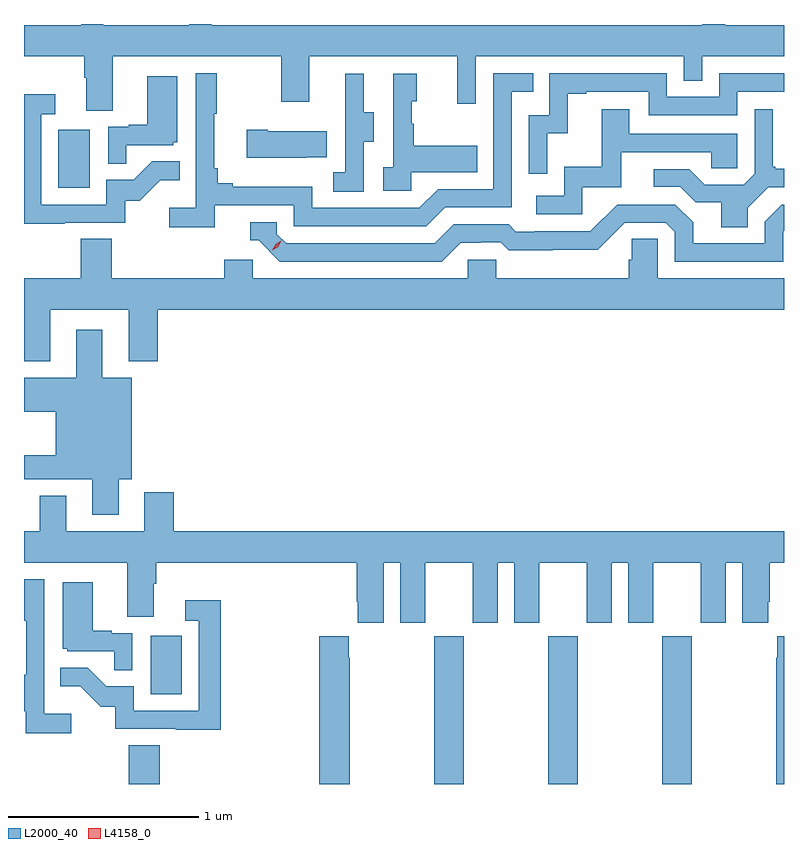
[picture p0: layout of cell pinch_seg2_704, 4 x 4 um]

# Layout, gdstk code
import gdstk
lib = gdstk.Library(unit=1e-6, precision=1e-09)
def R(c, l, rs):  # rectangles x0, y0, x1, y1
    for r in rs: c.add(gdstk.rectangle(r[:2], r[2:], *l))
def A(c, l, x, y, w, h, nx, ny, dx, dy):  # array of equal rectangles
    R(c, l, [(x+i*dx, y+j*dy, x+i*dx+w, y+j*dy+h) for i in range(nx) for j in range(ny)])
def P(c, l, *ps):  # polygons
    for p in ps: c.add(gdstk.Polygon(p, *l))
L2000_40 = (2000, 40)
L4158_0 = (4158, 0)

pinch_seg2_704 = lib.new_cell('pinch_seg2_704')
A(pinch_seg2_704, L2000_40, 1118.791, 597.187, 0.155, 0.777, 3, 1, 0.6, 0)
R(pinch_seg2_704, L2000_40, [(1117.181,597.187,1117.346,597.392), (1117.298,597.66,1117.462,597.967), (1116.812,600.324,1116.976,600.631)])
P(pinch_seg2_704, L2000_40, [(1117.619,601.187),(1117.502,601.187),(1117.502,601.18),(1117.049,601.18),(1117.049,601.187),(1116.931,601.187),(1116.931,601.18),(1116.631,601.18),(1116.631,601.016),(1116.947,601.016),(1116.947,600.904),(1116.959,600.904),(1116.959,600.73),(1117.099,600.73),(1117.099,601.016),(1117.984,601.016),(1117.984,600.777),(1118.131,600.777),(1118.131,601.016),(1118.912,601.016),(1118.912,600.768),(1119.009,600.768),(1119.009,601.016),(1120.104,601.016),(1120.104,600.889),(1120.2,600.889),(1120.2,601.016),(1120.631,601.016),(1120.631,601.18),(1120.321,601.18),(1120.321,601.187),(1120.2,601.187),(1120.2,601.18),(1117.619,601.18)],
  [(1117.634,600.234),(1118.052,600.234),(1118.052,600.123),(1118.749,600.123),(1118.848,600.222),(1119.198,600.222),(1119.198,600.831),(1119.311,600.831),(1119.311,600.927),(1119.102,600.927),(1119.102,600.318),(1118.811,600.318),(1118.712,600.219),(1118.148,600.219),(1118.148,600.331),(1117.729,600.331),(1117.729,600.35),(1117.652,600.35),(1117.652,600.427),(1117.633,600.427),(1117.633,600.715),(1117.645,600.715),(1117.645,600.928),(1117.536,600.928),(1117.536,600.22),(1117.395,600.22),(1117.395,600.118),(1117.634,600.118)],
  [(1119.384,600.611),(1119.494,600.611),(1119.494,600.819),(1119.589,600.819),(1119.589,600.831),(1119.918,600.831),(1119.918,600.708),(1120.386,600.708),(1120.386,600.831),(1120.631,600.831),(1120.631,600.927),(1120.29,600.927),(1120.29,600.804),(1120.014,600.804),(1120.014,600.927),(1119.396,600.927),(1119.396,600.708),(1119.288,600.708),(1119.288,600.399),(1119.384,600.399)],
  [(1118.418,600.568),(1118.473,600.568),(1118.473,600.723),(1118.419,600.723),(1118.419,600.925),(1118.321,600.925),(1118.321,600.711),(1118.322,600.711),(1118.322,600.407),(1118.259,600.407),(1118.259,600.304),(1118.418,600.304)],
  [(1118.67,600.407),(1119.017,600.407),(1119.017,600.547),(1118.683,600.547),(1118.683,600.662),(1118.673,600.662),(1118.673,600.78),(1118.698,600.78),(1118.698,600.925),(1118.574,600.925),(1118.574,600.434),(1118.523,600.434),(1118.523,600.309),(1118.67,600.309)],
  [(1117.169,600.549),(1117.416,600.549),(1117.416,600.564),(1117.438,600.564),(1117.438,600.913),(1117.28,600.913),(1117.28,600.658),(1117.181,600.658),(1117.181,600.645),(1117.074,600.645),(1117.074,600.451),(1117.169,600.451)],
  [(1116.845,600.141),(1117.164,600.141),(1117.164,600.258),(1117.24,600.258),(1117.347,600.365),(1117.451,600.365),(1117.451,600.464),(1117.307,600.464),(1117.209,600.366),(1117.065,600.366),(1117.065,600.237),(1116.723,600.237),(1116.723,600.711),(1116.796,600.711),(1116.796,600.817),(1116.631,600.817),(1116.631,600.136),(1116.845,600.136)],
  [(1119.57,600.327),(1119.775,600.327),(1119.775,600.513),(1120.249,600.513),(1120.249,600.429),(1120.386,600.429),(1120.386,600.609),(1119.817,600.609),(1119.817,600.739),(1119.673,600.739),(1119.673,600.436),(1119.474,600.436),(1119.474,600.282),(1119.327,600.282),(1119.327,600.186),(1119.57,600.186)],
  [(1120.441,600.22),(1120.548,600.327),(1120.631,600.327),(1120.631,600.424),(1120.585,600.424),(1120.585,600.436),(1120.573,600.436),(1120.573,600.739),(1120.476,600.739),(1120.476,600.399),(1120.419,600.342),(1120.213,600.342),(1120.132,600.423),(1119.945,600.423),(1119.945,600.33),(1120.086,600.33),(1120.166,600.25),(1120.301,600.25),(1120.301,600.118),(1120.441,600.118)],
  [(1118.117,600.485),(1118.225,600.485),(1118.225,600.622),(1117.915,600.622),(1117.915,600.63),(1117.803,600.63),(1117.803,600.482),(1118.117,600.482)],
  [(1118.929,600.036),(1119.036,600.036),(1119.036,600.039),(1119.139,600.039),(1119.181,599.997),(1119.414,599.997),(1119.414,599.999),(1119.65,599.999),(1119.792,600.141),(1120.008,600.141),(1120.056,600.093),(1120.056,599.937),(1120.626,599.937),(1120.626,600.093),(1120.631,600.098),(1120.631,600.237),(1120.62,600.237),(1120.53,600.147),(1120.53,600.033),(1120.153,600.033),(1120.153,600.143),(1120.059,600.237),(1119.753,600.237),(1119.612,600.096),(1119.319,600.096),(1119.319,600.093),(1119.22,600.093),(1119.181,600.132),(1118.892,600.132),(1118.793,600.033),(1118.01,600.033),(1117.962,600.081),(1117.962,600.144),(1117.823,600.144),(1117.823,600.048),(1117.866,600.048),(1117.977,599.937),(1118.83,599.937)],
  [(1116.769,599.684),(1117.181,599.684),(1117.181,599.411),(1117.334,599.411),(1117.334,599.684),(1120.631,599.684),(1120.631,599.848),(1119.966,599.848),(1119.966,600.056),(1119.829,600.056),(1119.829,599.946),(1119.815,599.946),(1119.815,599.848),(1119.117,599.848),(1119.117,599.946),(1118.967,599.946),(1118.967,599.848),(1117.836,599.848),(1117.836,599.946),(1117.685,599.946),(1117.685,599.848),(1117.094,599.848),(1117.094,600.056),(1116.929,600.056),(1116.929,599.848),(1116.631,599.848),(1116.631,599.411),(1116.769,599.411)],
  [(1117.129,598.79),(1117.198,598.79),(1117.198,599.326),(1117.042,599.326),(1117.042,599.578),(1116.905,599.578),(1116.905,599.326),(1116.631,599.326),(1116.631,599.147),(1116.797,599.147),(1116.797,598.918),(1116.631,598.918),(1116.631,598.79),(1116.989,598.79),(1116.989,598.605),(1117.129,598.605)],
  [(1118.524,598.352),(1118.612,598.352),(1118.612,598.035),(1118.743,598.035),(1118.743,598.352),(1118.993,598.352),(1118.993,598.035),(1119.124,598.035),(1119.124,598.352),(1119.212,598.352),(1119.212,598.035),(1119.343,598.035),(1119.343,598.352),(1119.593,598.352),(1119.593,598.035),(1119.724,598.035),(1119.724,598.352),(1119.812,598.352),(1119.812,598.035),(1119.943,598.035),(1119.943,598.352),(1120.193,598.352),(1120.193,598.035),(1120.324,598.035),(1120.324,598.352),(1120.412,598.352),(1120.412,598.035),(1120.549,598.035),(1120.549,598.147),(1120.556,598.147),(1120.556,598.352),(1120.631,598.352),(1120.631,598.516),(1117.418,598.516),(1117.418,598.723),(1117.265,598.723),(1117.265,598.516),(1116.853,598.516),(1116.853,598.705),(1116.713,598.705),(1116.713,598.516),(1116.631,598.516),(1116.631,598.352),(1117.175,598.352),(1117.175,598.066),(1117.315,598.066),(1117.315,598.24),(1117.328,598.24),(1117.328,598.352),(1118.381,598.352),(1118.381,598.147),(1118.387,598.147),(1118.387,598.035),(1118.524,598.035)],
  [(1116.88,597.556),(1116.738,597.556),(1116.738,598.264),(1116.631,598.264),(1116.631,598.045),(1116.642,598.045),(1116.642,597.763),(1116.631,597.763),(1116.631,597.57),(1116.641,597.57),(1116.641,597.454),(1116.88,597.454)],
  [(1117.2,597.981),(1117.094,597.981),(1117.094,597.994),(1116.994,597.994),(1116.994,598.249),(1116.836,598.249),(1116.836,597.9),(1116.858,597.9),(1116.858,597.885),(1117.105,597.885),(1117.105,597.787),(1117.2,597.787)],
  [(1117.667,598.153),(1117.479,598.153),(1117.479,598.047),(1117.551,598.047),(1117.551,597.573),(1117.209,597.573),(1117.209,597.702),(1117.065,597.702),(1116.967,597.8),(1116.823,597.8),(1116.823,597.701),(1116.927,597.701),(1117.034,597.594),(1117.111,597.594),(1117.111,597.477),(1117.429,597.477),(1117.429,597.472),(1117.667,597.472)],
  [(1120.631,597.964),(1120.595,597.964),(1120.595,597.851),(1120.591,597.851),(1120.591,597.187),(1120.631,597.187)],
  [(1118.346,597.851),(1118.341,597.851),(1118.341,597.964),(1118.186,597.964),(1118.186,597.187),(1118.346,597.187)])
P(pinch_seg2_704, L4158_0, [(1117.938,599.995),(1117.938,599.996),(1117.955,600.028),(1117.986,600.047),(1117.986,600.047),(1117.986,600.046),(1117.97,600.014),(1117.938,599.995)])

lib.write_gds('pinch_seg2_704.gds')
